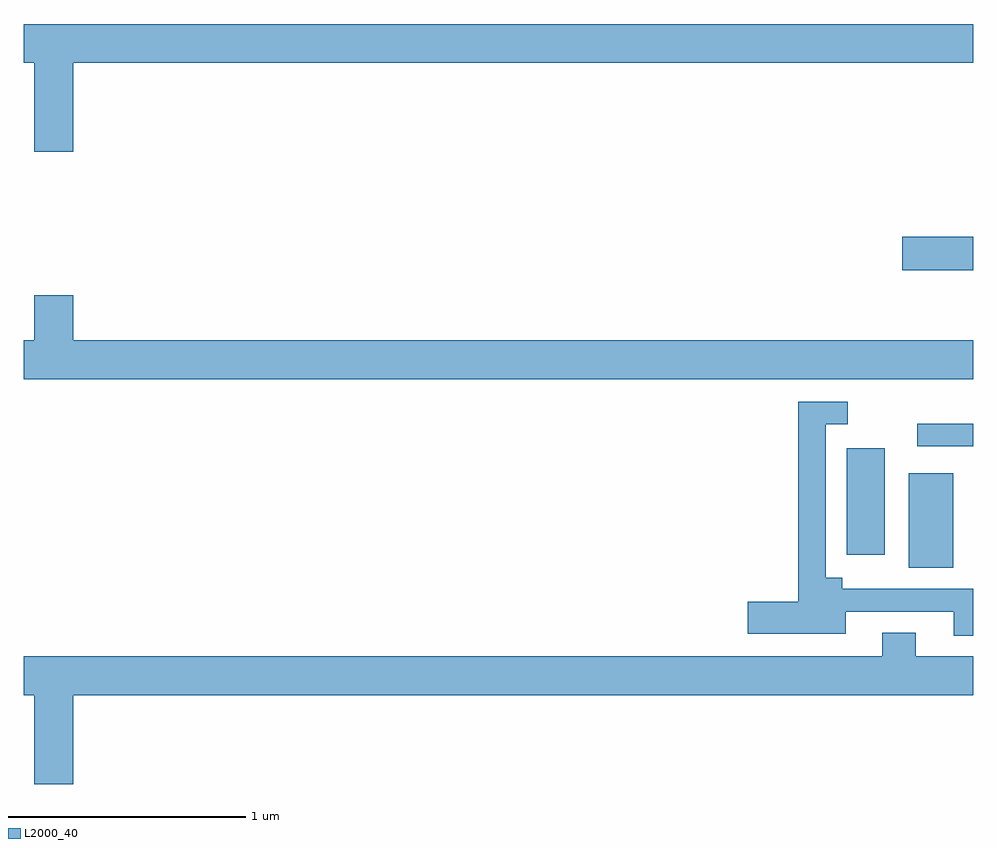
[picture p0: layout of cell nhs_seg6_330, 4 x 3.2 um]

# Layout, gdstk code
import gdstk
lib = gdstk.Library(unit=1e-6, precision=1e-09)
def R(c, l, rs):  # rectangles x0, y0, x1, y1
    for r in rs: c.add(gdstk.rectangle(r[:2], r[2:], *l))
def P(c, l, *ps):  # polygons
    for p in ps: c.add(gdstk.Polygon(p, *l))
L2000_40 = (2000, 40)

nhs_seg6_330 = lib.new_cell('nhs_seg6_330')
R(nhs_seg6_330, L2000_40, [(132.728,954.533,132.916,954.931), (132.467,954.588,132.628,955.036), (132.765,955.044,133,955.14), (132.702,955.786,133,955.928)])
P(nhs_seg6_330, L2000_40, [(129.208,956.66),(133,956.66),(133,956.824),(129,956.824),(129,956.66),(129.044,956.66),(129.044,956.286),(129.208,956.286)],
  [(133,955.492),(129.208,955.492),(129.208,955.681),(129.044,955.681),(129.044,955.492),(129,955.492),(129,955.328),(133,955.328)],
  [(133,954.444),(132.448,954.444),(132.448,954.49),(132.378,954.49),(132.378,955.137),(132.472,955.137),(132.472,955.233),(132.262,955.233),(132.262,954.389),(132.051,954.389),(132.051,954.254),(132.463,954.254),(132.463,954.348),(132.917,954.348),(132.917,954.246),(133,954.246)],
  [(129.208,953.996),(133,953.996),(133,954.16),(132.757,954.16),(132.757,954.259),(132.617,954.259),(132.617,954.16),(129,954.16),(129,953.996),(129.044,953.996),(129.044,953.622),(129.208,953.622)])

lib.write_gds('nhs_seg6_330.gds')
